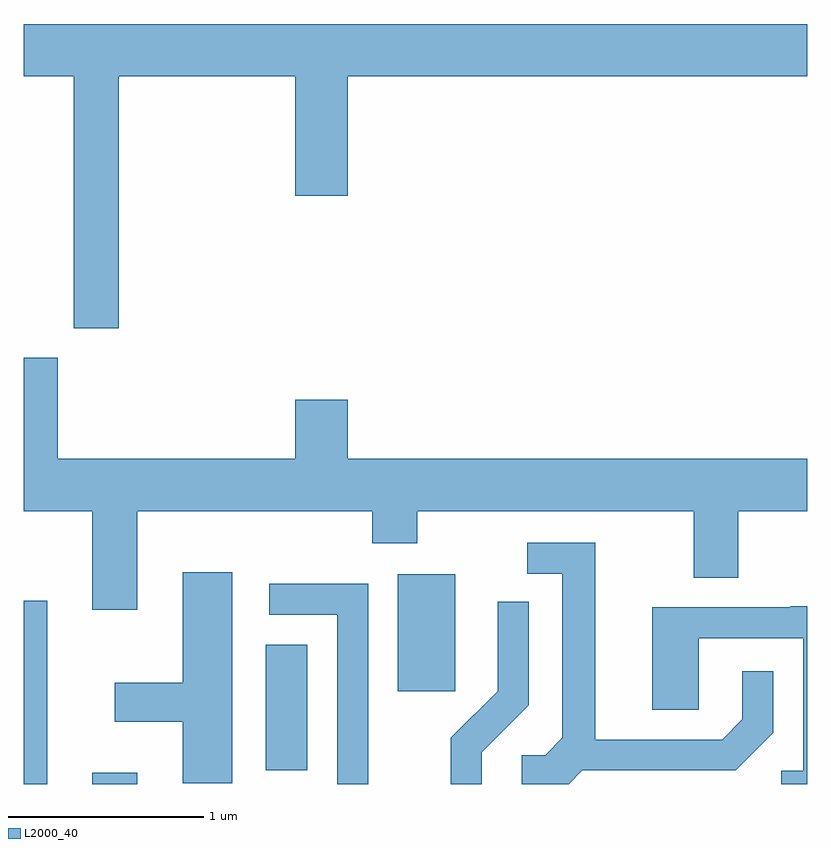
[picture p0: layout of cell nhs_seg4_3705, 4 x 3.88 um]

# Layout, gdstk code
import gdstk
lib = gdstk.Library(unit=1e-6, precision=1e-09)
def R(c, l, rs):  # rectangles x0, y0, x1, y1
    for r in rs: c.add(gdstk.rectangle(r[:2], r[2:], *l))
def P(c, l, *ps):  # polygons
    for p in ps: c.add(gdstk.Polygon(p, *l))
L2000_40 = (2000, 40)

nhs_seg4_3705 = lib.new_cell('nhs_seg4_3705')
R(nhs_seg4_3705, L2000_40, [(293.611,1319.982,293.729,1320.919), (293.961,1319.982,294.189,1320.039), (294.846,1320.051,295.059,1320.694), (295.521,1320.456,295.814,1321.054)])
P(nhs_seg4_3705, L2000_40, [(294.094,1323.596),(294.996,1323.596),(294.996,1322.986),(295.264,1322.986),(295.264,1323.596),(297.611,1323.596),(297.611,1323.864),(293.611,1323.864),(293.611,1323.596),(293.866,1323.596),(293.866,1322.311),(294.094,1322.311)],
  [(294.189,1321.376),(295.391,1321.376),(295.391,1321.211),(295.619,1321.211),(295.619,1321.376),(297.031,1321.376),(297.031,1321.036),(297.259,1321.036),(297.259,1321.376),(297.611,1321.376),(297.611,1321.644),(295.264,1321.644),(295.264,1321.944),(294.996,1321.944),(294.996,1321.644),(293.784,1321.644),(293.784,1322.159),(293.611,1322.159),(293.611,1321.376),(293.961,1321.376),(293.961,1320.871),(294.189,1320.871)],
  [(296.462,1320.051),(297.247,1320.051),(297.439,1320.244),(297.439,1320.558),(297.281,1320.558),(297.281,1320.312),(297.179,1320.209),(296.529,1320.209),(296.529,1321.214),(296.183,1321.214),(296.183,1321.056),(296.361,1321.056),(296.361,1320.217),(296.274,1320.129),(296.153,1320.129),(296.153,1319.982),(296.393,1319.982)],
  [(294.674,1321.064),(294.421,1321.064),(294.421,1320.499),(294.076,1320.499),(294.076,1320.301),(294.421,1320.301),(294.421,1319.986),(294.674,1319.986)],
  [(295.369,1321.004),(294.863,1321.004),(294.863,1320.846),(295.211,1320.846),(295.211,1319.982),(295.369,1319.982)],
  [(295.949,1320.144),(296.189,1320.384),(296.189,1320.913),(296.031,1320.913),(296.031,1320.457),(295.791,1320.217),(295.791,1319.982),(295.949,1319.982)],
  [(297.611,1320.889),(297.525,1320.889),(297.525,1320.884),(296.821,1320.884),(296.821,1320.361),(297.059,1320.361),(297.059,1320.726),(297.591,1320.726),(297.591,1320.049),(297.478,1320.049),(297.478,1319.982),(297.611,1319.982)])

lib.write_gds('nhs_seg4_3705.gds')
